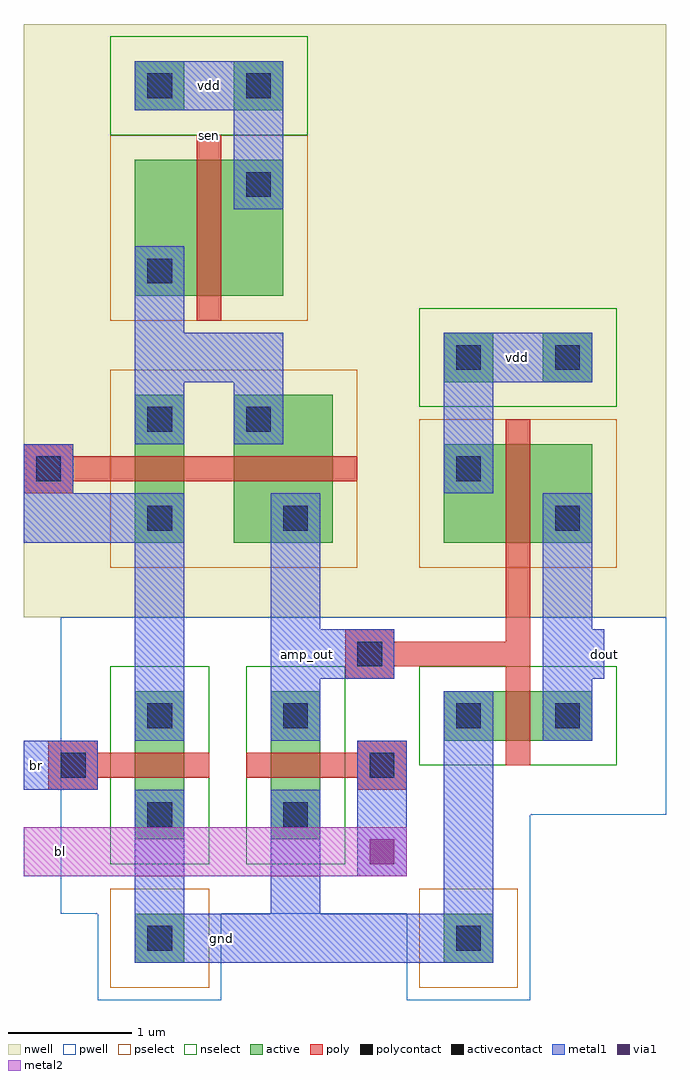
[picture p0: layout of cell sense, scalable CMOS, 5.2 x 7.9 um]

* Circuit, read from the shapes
.subckt sense amp_out bl br dout gnd sen vdd
M1 n1 br gnd gnd nfet w=0.4u l=0.2u
M2 amp_out bl gnd gnd nfet w=0.4u l=0.2u
M3 dout amp_out gnd gnd nfet w=0.4u l=0.2u
M4 n2 n1 n1 vdd pfet w=0.4u l=0.2u
M5 vdd sen n2 vdd pfet w=1.1u l=0.2u
M6 n2 n1 amp_out vdd pfet w=0.8u l=0.2u
M7 dout amp_out vdd vdd pfet w=0.8u l=0.2u
.ends

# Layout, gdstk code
import gdstk
lib = gdstk.Library(unit=1e-6, precision=1e-09)
def R(c, l, rs):  # rectangles x0, y0, x1, y1
    for r in rs: c.add(gdstk.rectangle(r[:2], r[2:], *l))
pwell = (41, 0)
nwell = (42, 0)
active = (43, 0)
pselect = (44, 0)
nselect = (45, 0)
poly = (46, 0)
polycontact = (47, 0)
activecontact = (48, 0)
metal1 = (49, 0)
via1 = (50, 0)
metal2 = (51, 0)

sense = lib.new_cell('sense')
R(sense, pwell, [(-2,-5.4,-1,-4.7), (0.5,-5.4,1.5,-4.7), (-2.3,-4.7,1.5,-3.9), (-2.3,-3.9,2.6,-2.3)])
R(sense, nwell, [(-2.6,-2.3,2.6,2.5)])
R(sense, active, [(-1.7,-5.1,-1.3,-4.7), (0.8,-5.1,1.2,-4.7), (-1.7,-4.1,-1.3,-2.9), (-0.6,-4.1,-0.2,-2.9), (0.8,-3.3,2,-2.9), (-1.7,-1.7,-1.3,-0.5), (-0.9,-1.7,-0.1,-0.5), (0.8,-1.7,2,-0.9), (0.8,-0.4,1.2,0), (1.6,-0.4,2,0), (-1.7,0.3,-0.5,1.4), (-1.7,1.8,-1.3,2.2), (-0.9,1.8,-0.5,2.2)])
R(sense, pselect, [(-1.9,-5.3,-1.1,-4.5), (0.6,-5.3,1.4,-4.5), (-1.9,-1.9,0.1,-0.3), (0.6,-1.9,2.2,-0.7), (-1.9,0.1,-0.3,1.6)])
R(sense, nselect, [(-1.9,-4.3,-1.1,-2.7), (-0.8,-4.3,0,-2.7), (0.6,-3.5,2.2,-2.7), (0.6,-0.6,2.2,0.2), (-1.9,1.6,-0.3,2.4)])
R(sense, poly, [(-2.4,-3.7,-2,-3.6), (0.1,-3.7,0.5,-3.6), (-2.4,-3.6,-1.1,-3.4), (-0.8,-3.6,0.5,-3.4), (1.3,-3.5,1.5,-2.7), (-2.4,-3.4,-2,-3.3), (0.1,-3.4,0.5,-3.3), (0,-2.8,0.4,-2.7), (0,-2.7,1.5,-2.5), (0,-2.5,0.4,-2.4), (1.3,-2.5,1.5,-0.7), (-2.6,-1.3,-2.2,-1.2), (-2.6,-1.2,0.1,-1), (-2.6,-1,-2.2,-0.9), (-1.2,0.1,-1,1.6)])
R(sense, polycontact, [(-2.3,-3.6,-2.1,-3.4), (0.2,-3.6,0.4,-3.4), (0.1,-2.7,0.3,-2.5), (-2.5,-1.2,-2.3,-1)])
R(sense, activecontact, [(-1.6,-5,-1.4,-4.8), (0.9,-5,1.1,-4.8), (-1.6,-4,-1.4,-3.8), (-0.5,-4,-0.3,-3.8), (-1.6,-3.2,-1.4,-3), (-0.5,-3.2,-0.3,-3), (0.9,-3.2,1.1,-3), (1.7,-3.2,1.9,-3), (-1.6,-1.6,-1.4,-1.4), (-0.5,-1.6,-0.3,-1.4), (1.7,-1.6,1.9,-1.4), (0.9,-1.2,1.1,-1), (-1.6,-0.8,-1.4,-0.6), (-0.8,-0.8,-0.6,-0.6), (0.9,-0.3,1.1,-0.1), (1.7,-0.3,1.9,-0.1), (-1.6,0.4,-1.4,0.6), (-0.8,1.1,-0.6,1.3), (-1.6,1.9,-1.4,2.1), (-0.8,1.9,-0.6,2.1)])
R(sense, metal1, [(-1.7,-5.1,1.2,-4.7), (-1.7,-4.7,-1.3,-3.7), (-0.6,-4.7,-0.2,-3.7), (0.8,-4.7,1.2,-2.9), (0.1,-4.4,0.5,-3.3), (-2.6,-3.7,-2,-3.3), (-1.7,-3.3,-1.3,-1.7), (-0.6,-3.3,-0.2,-2.8), (1.6,-3.3,2,-2.8), (-0.6,-2.8,0.4,-2.4), (1.6,-2.8,2.1,-2.4), (-0.6,-2.4,-0.2,-1.3), (1.6,-2.4,2,-1.3), (-2.6,-1.7,-1.3,-1.3), (-2.6,-1.3,-2.2,-0.9), (0.8,-1.3,1.2,-0.4), (-1.7,-0.9,-1.3,-0.4), (-0.9,-0.9,-0.5,-0.4), (-1.7,-0.4,-0.5,0), (0.8,-0.4,2,0), (-1.7,0,-1.3,0.7), (-0.9,1,-0.5,1.8), (-1.7,1.8,-0.5,2.2)])
R(sense, via1, [(0.2,-4.3,0.4,-4.1)])
R(sense, metal2, [(-2.6,-4.4,0.5,-4)])
sense.add(gdstk.Label('gnd', (-1,-4.9), layer=49, texttype=0))
sense.add(gdstk.Label('dout', (2.1,-2.6), layer=49, texttype=0))
sense.add(gdstk.Label('vdd', (1.4,-0.2), layer=49, texttype=0))
sense.add(gdstk.Label('amp_out', (-0.3,-2.6), layer=49, texttype=0))
sense.add(gdstk.Label('vdd', (-1.1,2), layer=49, texttype=0))
sense.add(gdstk.Label('sen', (-1.1,1.6), layer=46, texttype=0))
sense.add(gdstk.Label('bl', (-2.3,-4.2), layer=51, texttype=0))
sense.add(gdstk.Label('br', (-2.5,-3.5), layer=49, texttype=0))

lib.write_gds('sense.gds')
